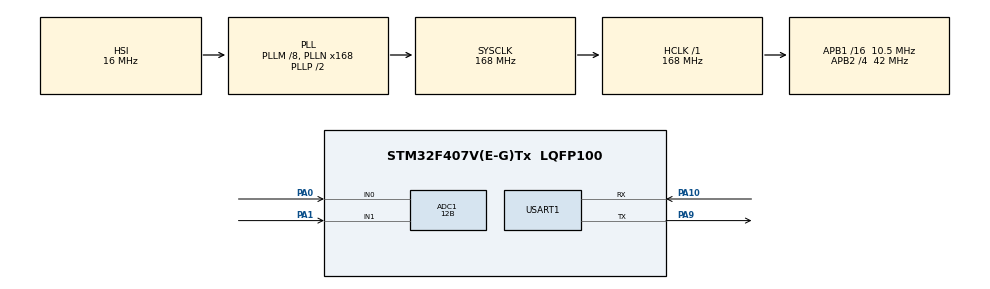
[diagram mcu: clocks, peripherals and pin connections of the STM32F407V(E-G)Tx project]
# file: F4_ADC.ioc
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ADC1.Channel-0\#ChannelRegularConversion=ADC_CHANNEL_0
ADC1.Channel-1\#ChannelRegularConversion=ADC_CHANNEL_1
ADC1.ClockPrescaler=ADC_CLOCK_SYNC_PCLK_DIV4
ADC1.ContinuousConvMode=ENABLE
ADC1.DMAContinuousRequests=ENABLE
ADC1.DataAlign=ADC_DATAALIGN_RIGHT
ADC1.DiscontinuousConvMode=DISABLE
ADC1.EOCSelection=ADC_EOC_SINGLE_CONV
ADC1.EnableAnalogWatchDog=false
ADC1.ExternalTrigConv=ADC_SOFTWARE_START
ADC1.ExternalTrigConvEdge=ADC_EXTERNALTRIGCONVEDGE_NONE
ADC1.InjNumberOfConversion=0
ADC1.NbrOfConversion=2
ADC1.NbrOfConversionFlag=1
ADC1.Rank-0\#ChannelRegularConversion=1
ADC1.Rank-1\#ChannelRegularConversion=2
ADC1.Resolution=ADC_RESOLUTION_12B
ADC1.SamplingTime-0\#ChannelRegularConversion=ADC_SAMPLETIME_480CYCLES
ADC1.SamplingTime-1\#ChannelRegularConversion=ADC_SAMPLETIME_480CYCLES
ADC1.ScanConvMode=ENABLE
ADC1.master=1
Dma.ADC1.0.Direction=DMA_PERIPH_TO_MEMORY
Dma.ADC1.0.FIFOMode=DMA_FIFOMODE_DISABLE
Dma.ADC1.0.Instance=DMA2_Stream0
Dma.ADC1.0.MemDataAlignment=DMA_MDATAALIGN_WORD
Dma.ADC1.0.MemInc=DMA_MINC_ENABLE
Dma.ADC1.0.Mode=DMA_CIRCULAR
Dma.ADC1.0.PeriphDataAlignment=DMA_PDATAALIGN_WORD
Dma.ADC1.0.PeriphInc=DMA_PINC_DISABLE
Dma.ADC1.0.Priority=DMA_PRIORITY_LOW
Dma.Request0=ADC1
Mcu.Family=STM32F4
Mcu.Name=STM32F407V(E-G)Tx
Mcu.Package=LQFP100
NVIC.ADC_IRQn=true\:0\:0\:false\:false\:true\:true
NVIC.DMA2_Stream0_IRQn=true\:0\:0\:false\:false\:true\:false
NVIC.PriorityGroup=NVIC_PRIORITYGROUP_4
PA0-WKUP.Signal=ADCx_IN0
PA1.Signal=ADCx_IN1
PA10.Mode=Asynchronous
PA10.Signal=USART1_RX
PA9.Mode=Asynchronous
PA9.Signal=USART1_TX
PH0-OSC_IN.Mode=HSE-External-Oscillator
PH0-OSC_IN.Signal=RCC_OSC_IN
PH1-OSC_OUT.Mode=HSE-External-Oscillator
PH1-OSC_OUT.Signal=RCC_OSC_OUT
ProjectManager.HeapSize=0x200
ProjectManager.StackSize=0x400
ProjectManager.TargetToolchain=MDK-ARM V5
RCC.48MHZClocksFreq_Value=84000000
RCC.AHBFreq_Value=168000000
RCC.APB1CLKDivider=RCC_HCLK_DIV16
RCC.APB1Freq_Value=10500000
RCC.APB1TimFreq_Value=21000000
RCC.APB2CLKDivider=RCC_HCLK_DIV4
RCC.APB2Freq_Value=42000000
RCC.APB2TimFreq_Value=84000000
RCC.CortexFreq_Value=168000000
RCC.HCLKFreq_Value=168000000
RCC.HSE_VALUE=25000000
RCC.HSI_VALUE=16000000
RCC.LSE_VALUE=32768
RCC.PLLM=8
RCC.PLLN=168
RCC.SYSCLKFreq_VALUE=168000000
RCC.SYSCLKSource=RCC_SYSCLKSOURCE_PLLCLK
RCC.VCOOutputFreq_Value=336000000
SH.ADCx_IN0.0=ADC1_IN0,IN0
SH.ADCx_IN1.0=ADC1_IN1,IN1
USART1.VirtualMode=VM_ASYNC
board=F4_ADC

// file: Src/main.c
/**
  ******************************************************************************
  * File Name          : main.c
  * Description        : Main program body
  ******************************************************************************
  ** This notice applies to any and all portions of this file
  * that are not between comment pairs USER CODE BEGIN and
  * USER CODE END. Other portions of this file, whether
  * inserted by the user or by software development tools
  * are owned by their respective copyright owners.
  *
  * COPYRIGHT(c) 2017 STMicroelectronics
  *
  * Redistribution and use in source and binary forms, with or without modification,
  * are permitted provided that the following conditions are met:
  *   1. Redistributions of source code must retain the above copyright notice,
  *      this list of conditions and the following disclaimer.
  *   2. Redistributions in binary form must reproduce the above copyright notice,
  *      this list of conditions and the following disclaimer in the documentation
  *      and/or other materials provided with the distribution.
  *   3. Neither the name of STMicroelectronics nor the names of its contributors
  *      may be used to endorse or promote products derived from this software
  *      without specific prior written permission.
  *
  * THIS SOFTWARE IS PROVIDED BY THE COPYRIGHT HOLDERS AND CONTRIBUTORS "AS IS"
  * AND ANY EXPRESS OR IMPLIED WARRANTIES, INCLUDING, BUT NOT LIMITED TO, THE
  * IMPLIED WARRANTIES OF MERCHANTABILITY AND FITNESS FOR A PARTICULAR PURPOSE ARE
  * DISCLAIMED. IN NO EVENT SHALL THE COPYRIGHT HOLDER OR CONTRIBUTORS BE LIABLE
  * FOR ANY DIRECT, INDIRECT, INCIDENTAL, SPECIAL, EXEMPLARY, OR CONSEQUENTIAL
  * DAMAGES (INCLUDING, BUT NOT LIMITED TO, PROCUREMENT OF SUBSTITUTE GOODS OR
  * SERVICES; LOSS OF USE, DATA, OR PROFITS; OR BUSINESS INTERRUPTION) HOWEVER
  * CAUSED AND ON ANY THEORY OF LIABILITY, WHETHER IN CONTRACT, STRICT LIABILITY,
  * OR TORT (INCLUDING NEGLIGENCE OR OTHERWISE) ARISING IN ANY WAY OUT OF THE USE
  * OF THIS SOFTWARE, EVEN IF ADVISED OF THE POSSIBILITY OF SUCH DAMAGE.
  *
  ******************************************************************************
  */
#include "main.h"
#include "stm32f4xx_hal.h"

/* USER CODE BEGIN Includes */
#include "string.h"
/* USER CODE END Includes */

ADC_HandleTypeDef hadc1;
DMA_HandleTypeDef hdma_adc1;

UART_HandleTypeDef huart1;

/* USER CODE BEGIN PV */
/* Private variables ---------------------------------------------------------*/
char Rx_indx, Rx_data[2], Rx_Buffer[100], Transfer_cplt;
uint32_t adcValue[2];
/* USER CODE END PV */

void SystemClock_Config(void);
void check_commond(char* Rx_Buffer);
static void MX_GPIO_Init(void);
static void MX_DMA_Init(void);
static void MX_ADC1_Init(void);
static void MX_USART1_UART_Init(void);

/* USER CODE BEGIN PFP */
/* Private function prototypes -----------------------------------------------*/
void HAL_UART_RxCpltCallback(UART_HandleTypeDef *huart)
{
    uint8_t i;
    if (huart->Instance == USART1)  //current UART
        {
        if (Rx_indx==0) //clear Rx_Buffer before receiving new data
						{
						for (i=0;i<100;i++)
							Rx_Buffer[i]=0;
						}

        if (Rx_data[0]!='\n') // put the Rx_data to Rx_Buffer if it is not '\n'
            {
            Rx_Buffer[Rx_indx++]=Rx_data[0];    //add data to Rx_Buffer
            }
        else            //if received data is '\n', transfer complete, data is ready to read
            {
            check_commond(Rx_Buffer);
						Rx_indx = 0;
						}

        HAL_UART_Receive_IT(&huart1, (uint8_t*)Rx_data, 1);   //activate UART receive interrupt every time
        }

}

void check_commond(char* Rx_Buffer)
{
		if(strcmp(Rx_Buffer,"A")==0)
				printf("A OK\n");

		else if(strcmp(Rx_Buffer,"B")==0)
				printf("B OK\n");

		else
				printf("NOT OK\n");
}

//printf setting////////////////////////////////////////////////////////////////////////////
#ifdef __GNUC__
  /* With GCC/RAISONANCE, small printf (option LD Linker->Libraries->Small printf
     set to 'Yes') calls __io_putchar() */
  #define PUTCHAR_PROTOTYPE int __io_putchar(int ch)
#else
  #define PUTCHAR_PROTOTYPE int fputc(int ch, FILE *f)
#endif /* __GNUC__ */
PUTCHAR_PROTOTYPE
{
  HAL_UART_Transmit(&huart1, (uint8_t *)&ch, 1, 0xFFFF);
  return ch;
}
//////////////////////////////////////////////////////////////////////////////////////////////
/* USER CODE END PFP */

int main(void)
{

  /* MCU Configuration----------------------------------------------------------*/

  /* Reset of all peripherals, Initializes the Flash interface and the Systick. */
  HAL_Init();

  /* Configure the system clock */
  SystemClock_Config();

  /* Initialize all configured peripherals */
  MX_GPIO_Init();
  MX_DMA_Init();
  MX_ADC1_Init();
  MX_USART1_UART_Init();

  /* USER CODE BEGIN 2 */
	HAL_ADC_Start_DMA(&hadc1, adcValue, 2);
  /* USER CODE END 2 */

  /* Infinite loop */
  while (1)
  {

  }

}

/** System Clock Configuration
*/
void SystemClock_Config(void)
{

  RCC_OscInitTypeDef RCC_OscInitStruct;
  RCC_ClkInitTypeDef RCC_ClkInitStruct;

    /**Configure the main internal regulator output voltage
    */
  __HAL_RCC_PWR_CLK_ENABLE();

  __HAL_PWR_VOLTAGESCALING_CONFIG(PWR_REGULATOR_VOLTAGE_SCALE1);

    /**Initializes the CPU, AHB and APB busses clocks
    */
  RCC_OscInitStruct.OscillatorType = RCC_OSCILLATORTYPE_HSI;
  RCC_OscInitStruct.HSIState = RCC_HSI_ON;
  RCC_OscInitStruct.HSICalibrationValue = 16;
  RCC_OscInitStruct.PLL.PLLState = RCC_PLL_ON;
  RCC_OscInitStruct.PLL.PLLSource = RCC_PLLSOURCE_HSI;
  RCC_OscInitStruct.PLL.PLLM = 8;
  RCC_OscInitStruct.PLL.PLLN = 168;
  RCC_OscInitStruct.PLL.PLLP = RCC_PLLP_DIV2;
  RCC_OscInitStruct.PLL.PLLQ = 4;
  if (HAL_RCC_OscConfig(&RCC_OscInitStruct) != HAL_OK)
  {
    _Error_Handler(__FILE__, __LINE__);
  }

    /**Initializes the CPU, AHB and APB busses clocks
    */
  RCC_ClkInitStruct.ClockType = RCC_CLOCKTYPE_HCLK|RCC_CLOCKTYPE_SYSCLK
                              |RCC_CLOCKTYPE_PCLK1|RCC_CLOCKTYPE_PCLK2;
  RCC_ClkInitStruct.SYSCLKSource = RCC_SYSCLKSOURCE_PLLCLK;
  RCC_ClkInitStruct.AHBCLKDivider = RCC_SYSCLK_DIV1;
  RCC_ClkInitStruct.APB1CLKDivider = RCC_HCLK_DIV16;
  RCC_ClkInitStruct.APB2CLKDivider = RCC_HCLK_DIV4;

  if (HAL_RCC_ClockConfig(&RCC_ClkInitStruct, FLASH_LATENCY_5) != HAL_OK)
  {
    _Error_Handler(__FILE__, __LINE__);
  }

    /**Configure the Systick interrupt time
    */
  HAL_SYSTICK_Config(HAL_RCC_GetHCLKFreq()/1000);

    /**Configure the Systick
    */
  HAL_SYSTICK_CLKSourceConfig(SYSTICK_CLKSOURCE_HCLK);

  /* SysTick_IRQn interrupt configuration */
  HAL_NVIC_SetPriority(SysTick_IRQn, 0, 0);
}

/* ADC1 init function */
static void MX_ADC1_Init(void)
{

  ADC_ChannelConfTypeDef sConfig;

    /**Configure the global features of the ADC (Clock, Resolution, Data Alignment and number of conversion)
    */
  hadc1.Instance = ADC1;
  hadc1.Init.ClockPrescaler = ADC_CLOCK_SYNC_PCLK_DIV4;
  hadc1.Init.Resolution = ADC_RESOLUTION_12B;
  hadc1.Init.ScanConvMode = ENABLE;
  hadc1.Init.ContinuousConvMode = ENABLE;
  hadc1.Init.DiscontinuousConvMode = DISABLE;
  hadc1.Init.ExternalTrigConvEdge = ADC_EXTERNALTRIGCONVEDGE_NONE;
  hadc1.Init.ExternalTrigConv = ADC_SOFTWARE_START;
  hadc1.Init.DataAlign = ADC_DATAALIGN_RIGHT;
  hadc1.Init.NbrOfConversion = 2;
  hadc1.Init.DMAContinuousRequests = ENABLE;
  hadc1.Init.EOCSelection = ADC_EOC_SINGLE_CONV;
  if (HAL_ADC_Init(&hadc1) != HAL_OK)
  {
    _Error_Handler(__FILE__, __LINE__);
  }

    /**Configure for the selected ADC regular channel its corresponding rank in the sequencer and its sample time.
    */
  sConfig.Channel = ADC_CHANNEL_0;
  sConfig.Rank = 1;
  sConfig.SamplingTime = ADC_SAMPLETIME_480CYCLES;
  if (HAL_ADC_ConfigChannel(&hadc1, &sConfig) != HAL_OK)
  {
    _Error_Handler(__FILE__, __LINE__);
  }

    /**Configure for the selected ADC regular channel its corresponding rank in the sequencer and its sample time.
    */
  sConfig.Channel = ADC_CHANNEL_1;
  sConfig.Rank = 2;
  if (HAL_ADC_ConfigChannel(&hadc1, &sConfig) != HAL_OK)
  {
    _Error_Handler(__FILE__, __LINE__);
  }

}

/* USART1 init function */
static void MX_USART1_UART_Init(void)
{

  huart1.Instance = USART1;
  huart1.Init.BaudRate = 115200;
  huart1.Init.WordLength = UART_WORDLENGTH_8B;
  huart1.Init.StopBits = UART_STOPBITS_1;
  huart1.Init.Parity = UART_PARITY_NONE;
  huart1.Init.Mode = UART_MODE_TX_RX;
  huart1.Init.HwFlowCtl = UART_HWCONTROL_NONE;
  huart1.Init.OverSampling = UART_OVERSAMPLING_16;
  if (HAL_UART_Init(&huart1) != HAL_OK)
  {
    _Error_Handler(__FILE__, __LINE__);
  }

}

static void MX_DMA_Init(void)
{
  /* DMA controller clock enable */
  __HAL_RCC_DMA2_CLK_ENABLE();

  /* DMA interrupt init */
  /* DMA2_Stream0_IRQn interrupt configuration */
  HAL_NVIC_SetPriority(DMA2_Stream0_IRQn, 0, 0);
  HAL_NVIC_EnableIRQ(DMA2_Stream0_IRQn);

}

/** Configure pins as
        * Analog
        * Input
        * Output
        * EVENT_OUT
        * EXTI
*/
static void MX_GPIO_Init(void)
{

  /* GPIO Ports Clock Enable */
  __HAL_RCC_GPIOH_CLK_ENABLE();
  __HAL_RCC_GPIOA_CLK_ENABLE();

}

void _Error_Handler(char * file, int line)
{
  while(1)
  {
  }
}

/************************ (C) COPYRIGHT STMicroelectronics *****END OF FILE****/
